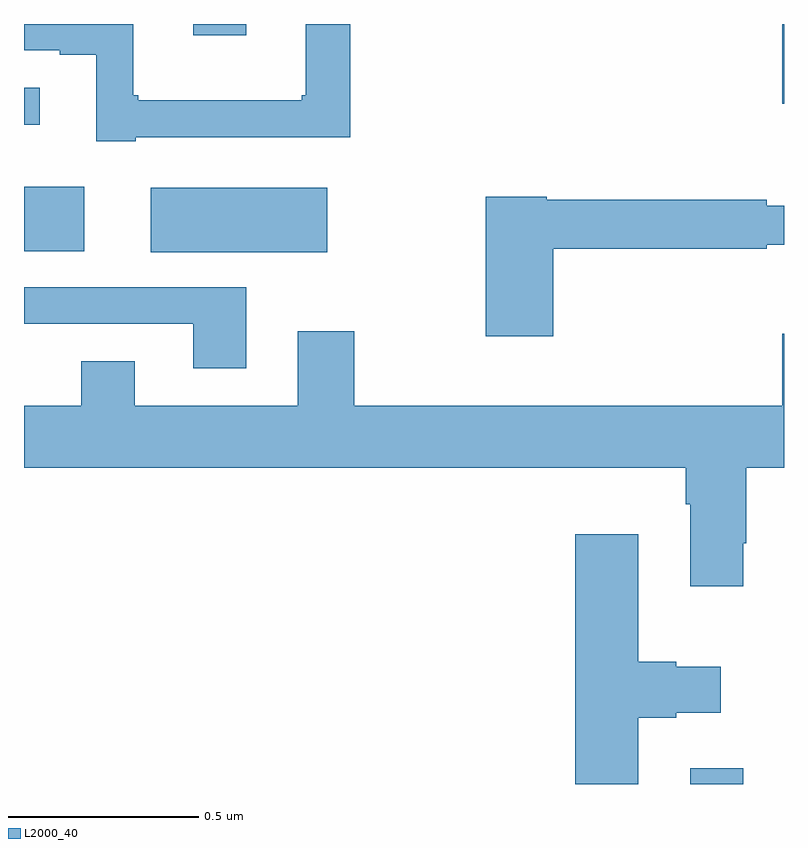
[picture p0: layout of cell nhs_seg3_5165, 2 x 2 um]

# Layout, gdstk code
import gdstk
lib = gdstk.Library(unit=1e-6, precision=1e-09)
def R(c, l, rs):  # rectangles x0, y0, x1, y1
    for r in rs: c.add(gdstk.rectangle(r[:2], r[2:], *l))
def P(c, l, *ps):  # polygons
    for p in ps: c.add(gdstk.Polygon(p, *l))
L2000_40 = (2000, 40)

nhs_seg3_5165 = lib.new_cell('nhs_seg3_5165')
R(nhs_seg3_5165, L2000_40, [(176.753,717.4,176.893,717.442), (175.334,718.799,175.798,718.969), (175,718.802,175.159,718.972), (175,719.135,175.042,719.232), (176.996,719.19,177,719.4), (175.445,719.37,175.585,719.4)])
P(nhs_seg3_5165, L2000_40, [(175.294,719.102),(175.859,719.102),(175.859,719.4),(175.742,719.4),(175.742,719.212),(175.731,719.212),(175.731,719.2),(175.3,719.2),(175.3,719.212),(175.288,719.212),(175.288,719.4),(175,719.4),(175,719.331),(175.094,719.331),(175.094,719.319),(175.19,719.319),(175.19,719.091),(175.294,719.091)],
  [(176.393,718.809),(176.954,718.809),(176.954,718.819),(177,718.819),(177,718.922),(176.954,718.922),(176.954,718.937),(176.376,718.937),(176.376,718.945),(176.215,718.945),(176.215,718.578),(176.393,718.578)],
  [(175.585,718.707),(175,718.707),(175,718.611),(175.445,718.611),(175.445,718.494),(175.585,718.494)],
  [(177,718.585),(176.996,718.585),(176.996,718.396),(175.869,718.396),(175.869,718.591),(175.721,718.591),(175.721,718.396),(175.291,718.396),(175.291,718.513),(175.151,718.513),(175.151,718.396),(175,718.396),(175,718.232),(176.741,718.232),(176.741,718.136),(176.753,718.136),(176.753,717.921),(176.893,717.921),(176.893,718.033),(176.901,718.033),(176.901,718.232),(177,718.232)],
  [(176.617,717.575),(176.717,717.575),(176.717,717.587),(176.833,717.587),(176.833,717.709),(176.717,717.709),(176.717,717.722),(176.617,717.722),(176.617,718.057),(176.45,718.057),(176.45,717.4),(176.617,717.4)])

lib.write_gds('nhs_seg3_5165.gds')
